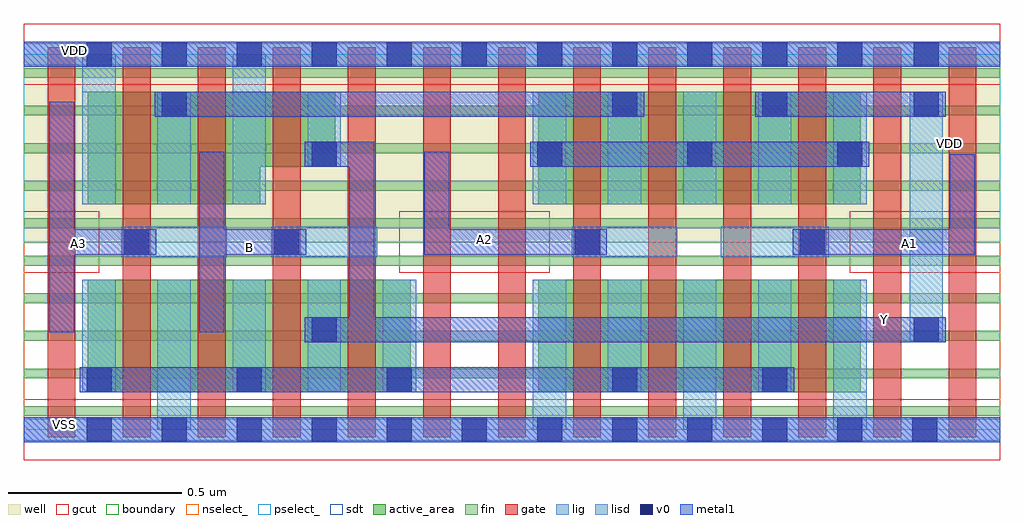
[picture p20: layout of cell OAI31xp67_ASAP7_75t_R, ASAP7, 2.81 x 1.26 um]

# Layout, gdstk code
import gdstk
lib = gdstk.Library(unit=1e-6, precision=2.5e-10)
def R(c, l, rs):  # rectangles x0, y0, x1, y1
    for r in rs: c.add(gdstk.rectangle(r[:2], r[2:], *l))
def A(c, l, x, y, w, h, nx, ny, dx, dy):  # array of equal rectangles
    R(c, l, [(x+i*dx, y+j*dy, x+i*dx+w, y+j*dy+h) for i in range(nx) for j in range(ny)])
def P(c, l, *ps):  # polygons
    for p in ps: c.add(gdstk.Polygon(p, *l))
well = (1, 0)
fin = (2, 0)
gate = (7, 0)
gcut = (10, 0)
active_area = (11, 0)
nselect_ = (12, 0)
pselect_ = (13, 0)
lig = (16, 0)
lisd = (17, 0)
v0 = (18, 0)
metal1 = (19, 0)
sdt = (88, 0)
boundary = (100, 0)

oai31xp67_asap7_75t_r = lib.new_cell('OAI31xp67_ASAP7_75t_R')
R(oai31xp67_asap7_75t_r, well, [(0,0.54,2.808,1.08)])
A(oai31xp67_asap7_75t_r, fin, 0, 0.04, 2.808, 0.028, 1, 10, 0, 0.108)
A(oai31xp67_asap7_75t_r, gate, 0.068, -0.022, 0.08, 1.122, 13, 1, 0.216, 0)
R(oai31xp67_asap7_75t_r, gcut, [(0,-0.088,2.808,0.088), (0,0.452,0.216,0.628), (1.08,0.452,1.512,0.628), (2.376,0.452,2.808,0.628), (0,0.992,2.808,1.168)])
R(oai31xp67_asap7_75t_r, active_area, [(0.184,0.108,1.112,0.432), (1.48,0.108,2.408,0.432), (1.48,0.648,2.408,0.972)])
P(oai31xp67_asap7_75t_r, active_area, [(0.184,0.648),(0.184,0.972),(0.896,0.972),(0.896,0.756),(0.68,0.756),(0.68,0.648)])
R(oai31xp67_asap7_75t_r, nselect_, [(0,0,2.808,0.54)])
R(oai31xp67_asap7_75t_r, pselect_, [(0,0.54,2.808,1.08)])
R(oai31xp67_asap7_75t_r, lig, [(0,-0.032,2.808,0.032), (0.28,0.496,0.584,0.584), (0.712,0.496,1.016,0.584), (1.576,0.496,1.88,0.584), (2.004,0.496,2.316,0.584), (0,1.048,2.808,1.112)])
A(oai31xp67_asap7_75t_r, lisd, 1.464, 0, 0.096, 0.432, 3, 1, 0.432, 0)
A(oai31xp67_asap7_75t_r, lisd, 0.6, 0.108, 0.096, 0.324, 3, 1, 0.216, 0)
A(oai31xp67_asap7_75t_r, lisd, 1.464, 0.648, 0.096, 0.324, 5, 1, 0.216, 0)
R(oai31xp67_asap7_75t_r, lisd, [(0.384,0,0.48,0.432), (0.168,0.108,0.264,0.432), (1.68,0.108,1.776,0.432), (2.112,0.108,2.208,0.432), (2.548,0.252,2.644,0.972), (0.168,0.648,0.264,1.08), (0.384,0.648,0.48,0.972), (0.6,0.648,0.696,1.08), (0.816,0.756,0.912,0.972)])
A(oai31xp67_asap7_75t_r, v0, 0.18, -0.036, 0.072, 0.072, 12, 1, 0.216, 0)
A(oai31xp67_asap7_75t_r, v0, 0.18, 0.108, 0.072, 0.072, 3, 1, 0.432, 0)
A(oai31xp67_asap7_75t_r, v0, 1.476, 0.756, 0.072, 0.072, 3, 1, 0.432, 0)
A(oai31xp67_asap7_75t_r, v0, 0.18, 1.044, 0.072, 0.072, 11, 1, 0.216, 0)
R(oai31xp67_asap7_75t_r, v0, [(1.692,0.108,1.764,0.18), (2.124,0.108,2.196,0.18), (0.828,0.252,0.9,0.324), (2.56,0.252,2.632,0.324), (0.288,0.504,0.36,0.576), (0.72,0.504,0.792,0.576), (1.584,0.504,1.656,0.576), (2.232,0.504,2.304,0.576), (0.828,0.756,0.9,0.828), (0.396,0.9,0.468,0.972), (1.692,0.9,1.764,0.972), (2.124,0.9,2.196,0.972), (2.56,0.9,2.632,0.972), (2.56,1.044,2.632,1.116)])
R(oai31xp67_asap7_75t_r, metal1, [(0,-0.036,2.808,0.036), (0.16,0.108,2.216,0.18), (1.456,0.756,2.432,0.828), (0.376,0.9,1.784,0.972), (2.104,0.9,2.652,0.972), (0,1.044,2.808,1.116)])
P(oai31xp67_asap7_75t_r, metal1, [(0.072,0.28),(0.072,0.944),(0.144,0.944),(0.144,0.576),(0.38,0.576),(0.38,0.504),(0.144,0.504),(0.144,0.28)],
  [(0.504,0.28),(0.504,0.8),(0.576,0.8),(0.576,0.576),(0.812,0.576),(0.812,0.504),(0.576,0.504),(0.576,0.28)],
  [(1.152,0.504),(1.152,0.8),(1.224,0.8),(1.224,0.576),(1.676,0.576),(1.676,0.504)],
  [(0.808,0.252),(0.808,0.324),(0.936,0.324),(0.936,0.756),(0.808,0.756),(0.808,0.828),(1.008,0.828),(1.008,0.324),(2.652,0.324),(2.652,0.252)],
  [(2.212,0.504),(2.212,0.576),(2.664,0.576),(2.664,0.792),(2.736,0.792),(2.736,0.504)])
A(oai31xp67_asap7_75t_r, sdt, 0.168, 0.108, 0.096, 0.324, 5, 1, 0.216, 0)
A(oai31xp67_asap7_75t_r, sdt, 1.464, 0.108, 0.096, 0.324, 5, 2, 0.216, 0.54)
A(oai31xp67_asap7_75t_r, sdt, 0.168, 0.648, 0.096, 0.324, 3, 1, 0.216, 0)
R(oai31xp67_asap7_75t_r, sdt, [(0.816,0.756,0.912,0.972)])
R(oai31xp67_asap7_75t_r, boundary, [(0,0,2.808,1.08)])
oai31xp67_asap7_75t_r.add(gdstk.Label('VSS', (0.116,0.016), layer=19, texttype=251))
oai31xp67_asap7_75t_r.add(gdstk.Label('VDD', (0.144,1.09), layer=19, texttype=251))
oai31xp67_asap7_75t_r.add(gdstk.Label('A3', (0.156,0.536), layer=19, texttype=251))
oai31xp67_asap7_75t_r.add(gdstk.Label('B', (0.648,0.524), layer=19, texttype=251))
oai31xp67_asap7_75t_r.add(gdstk.Label('A1', (2.548,0.536), layer=19, texttype=251))
oai31xp67_asap7_75t_r.add(gdstk.Label('A2', (1.324,0.548), layer=19, texttype=251))
oai31xp67_asap7_75t_r.add(gdstk.Label('Y', (2.476,0.316), layer=19, texttype=251))
oai31xp67_asap7_75t_r.add(gdstk.Label('VDD', (2.664,0.824), layer=1, texttype=251))
oai31xp67_asap7_75t_r.add(gdstk.Label('VSS', (2.94,0.82), layer=3, texttype=251))

lib.write_gds('OAI31xp67_ASAP7_75t_R.gds')
